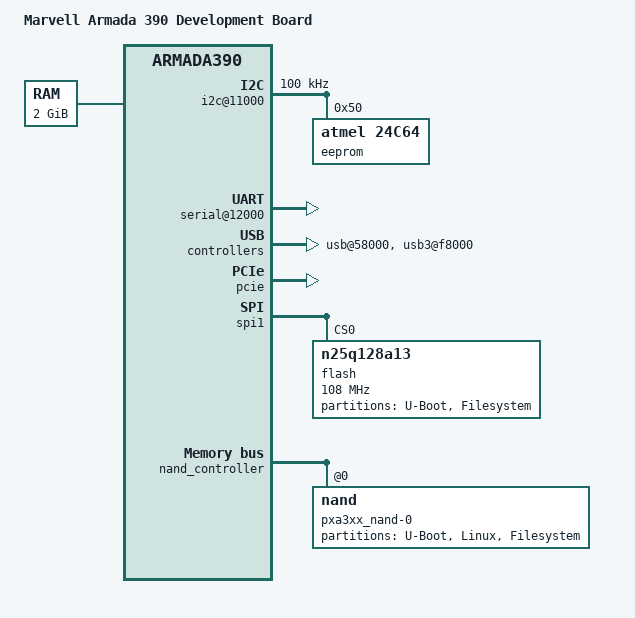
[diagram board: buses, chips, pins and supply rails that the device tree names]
// SPDX-License-Identifier: (GPL-2.0+ OR MIT)
/*
 * Device Tree file for Marvell Armada 390 Development Board
 * (DB-88F6920)
 *
 * Copyright (C) 2016 Marvell
 *
 * Grzegorz Jaszczyk <jaz@semihalf.com>
 */

/dts-v1/;
#include "armada-390.dtsi"

/ {
	model = "Marvell Armada 390 Development Board";
	compatible = "marvell,a390-db", "marvell,armada390";

	chosen {
		stdout-path = "serial0:115200n8";
	};

	memory {
		device_type = "memory";
		reg = <0x00000000 0x80000000>; /* 2 GB */
	};

	soc {
		ranges = <MBUS_ID(0xf0, 0x01) 0 0xf1000000 0x100000
			  MBUS_ID(0x01, 0x1d) 0 0xfff00000 0x100000>;

		internal-regs {
			i2c@11000 {
				status = "okay";
				clock-frequency = <100000>;

				eeprom@50 {
					compatible = "atmel,24c64";
					reg = <0x50>;
				};
			};

			/* CON104 */
			serial@12000 {
				status = "okay";
			};

			/* CON97 */
			usb@58000 {
				status = "okay";
			};

			/* CON98 */
			usb3@f8000 {
				status = "okay";
			};
		};

		pcie {
			status = "okay";

			/* CON30 */
			pcie@1,0 {
				status = "okay";
			};

			/* CON44 */
			pcie@2,0 {
				status = "okay";
			};

			/* CON61 */
			pcie@3,0 {
				status = "okay";
			};
		};
	};
};

&spi1 {
	status = "okay";
	pinctrl-0 = <&spi1_pins>;
	pinctrl-names = "default";

	flash@0 {
		#address-cells = <1>;
		#size-cells = <1>;
		compatible = "n25q128a13",
			     "jedec,spi-nor";
		reg = <0>; /* Chip select 0 */
		spi-max-frequency = <108000000>;

		partitions {
			compatible = "fixed-partitions";
			#address-cells = <1>;
			#size-cells = <1>;

			partition@0 {
				label = "U-Boot";
				reg = <0 0x400000>;
			};
			partition@400000 {
				label = "Filesystem";
				reg = <0x400000 0xc00000>;
			};
		};
	};
};

&nand_controller {
	status = "okay";
	pinctrl-0 = <&nand_pins>;
	pinctrl-names = "default";

	nand@0 {
		reg = <0>;
		label = "pxa3xx_nand-0";
		nand-rb = <0>;
		marvell,nand-keep-config;
		nand-on-flash-bbt;
		nand-ecc-strength = <8>;
		nand-ecc-step-size = <512>;

		partitions {
			compatible = "fixed-partitions";
			#address-cells = <1>;
			#size-cells = <1>;

			partition@0 {
				label = "U-Boot";
				reg = <0 0x800000>;
			};
			partition@800000 {
				label = "Linux";
				reg = <0x800000 0x800000>;
			};
			partition@1000000 {
				label = "Filesystem";
				reg = <0x1000000 0x3f000000>;
			};
		};
	};
};
